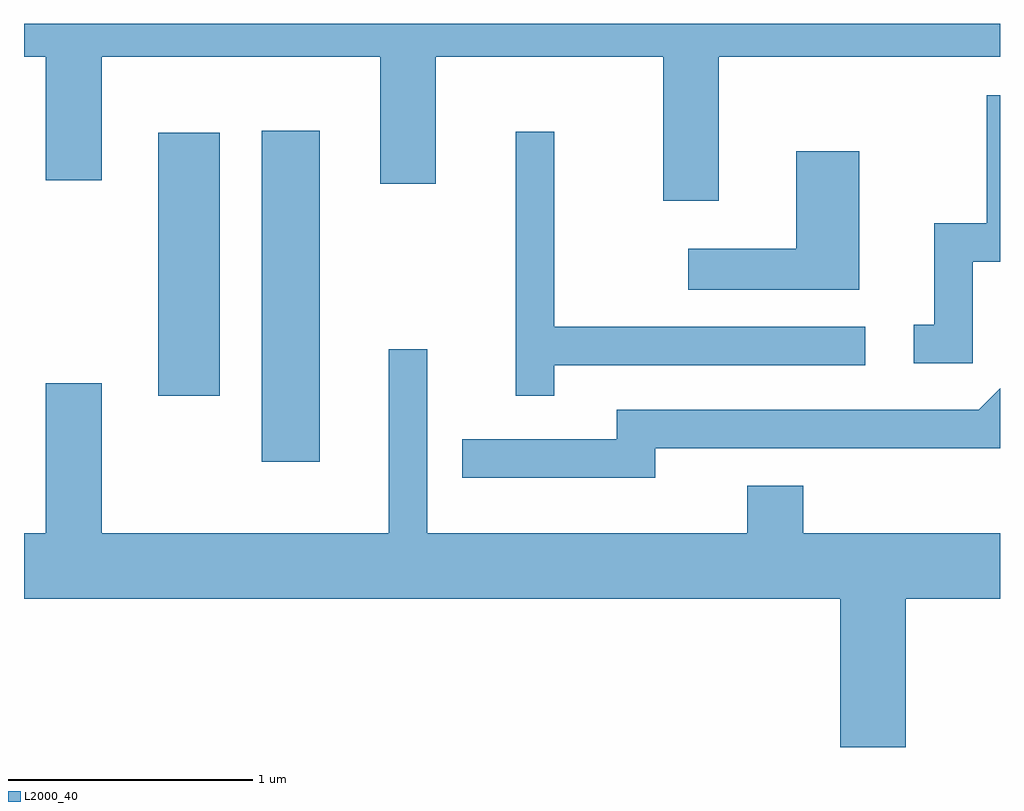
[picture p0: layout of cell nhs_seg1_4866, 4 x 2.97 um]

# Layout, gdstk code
import gdstk
lib = gdstk.Library(unit=1e-6, precision=1e-09)
def R(c, l, rs):  # rectangles x0, y0, x1, y1
    for r in rs: c.add(gdstk.rectangle(r[:2], r[2:], *l))
def P(c, l, *ps):  # polygons
    for p in ps: c.add(gdstk.Polygon(p, *l))
L2000_40 = (2000, 40)

nhs_seg1_4866 = lib.new_cell('nhs_seg1_4866')
R(nhs_seg1_4866, L2000_40, [(332.586,897.916,332.824,899.274), (332.161,898.186,332.414,899.264)])
P(nhs_seg1_4866, L2000_40, [(334.459,899.576),(335.611,899.576),(335.611,899.712),(331.611,899.712),(331.611,899.576),(331.701,899.576),(331.701,899.071),(331.929,899.071),(331.929,899.576),(333.071,899.576),(333.071,899.056),(333.299,899.056),(333.299,899.576),(334.231,899.576),(334.231,898.986),(334.459,898.986)],
  [(335.499,898.736),(335.611,898.736),(335.611,899.419),(335.556,899.419),(335.556,898.894),(335.341,898.894),(335.341,898.479),(335.258,898.479),(335.258,898.321),(335.499,898.321)],
  [(333.784,898.311),(335.058,898.311),(335.058,898.469),(333.784,898.469),(333.784,899.268),(333.626,899.268),(333.626,898.188),(333.784,898.188)],
  [(335.034,899.189),(334.776,899.189),(334.776,898.789),(334.333,898.789),(334.333,898.621),(335.034,898.621)],
  [(335.224,897.356),(335.611,897.356),(335.611,897.624),(334.804,897.624),(334.804,897.819),(334.576,897.819),(334.576,897.624),(333.264,897.624),(333.264,898.378),(333.106,898.378),(333.106,897.624),(331.929,897.624),(331.929,898.239),(331.701,898.239),(331.701,897.624),(331.611,897.624),(331.611,897.356),(334.956,897.356),(334.956,896.746),(335.224,896.746)],
  [(334.199,897.971),(335.611,897.971),(335.611,898.217),(335.524,898.129),(334.041,898.129),(334.041,898.009),(333.408,898.009),(333.408,897.851),(334.199,897.851)])

lib.write_gds('nhs_seg1_4866.gds')
